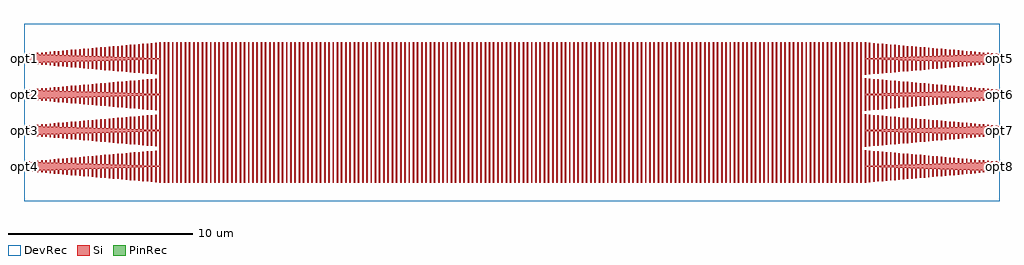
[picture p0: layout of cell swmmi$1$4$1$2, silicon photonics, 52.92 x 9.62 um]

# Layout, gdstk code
import gdstk
lib = gdstk.Library(unit=1e-6, precision=1e-09)
def R(c, l, rs):  # rectangles x0, y0, x1, y1
    for r in rs: c.add(gdstk.rectangle(r[:2], r[2:], *l))
def P(c, l, *ps):  # polygons
    for p in ps: c.add(gdstk.Polygon(p, *l))
Si = (1, 0)
PinRec = (1, 10)
DevRec = (68, 0)

tapered_rung_13b2f8a4_1_ = lib.new_cell('tapered_rung_13b2f8a4$1$4$1$2')
R(tapered_rung_13b2f8a4_1_, Si, [(0,-0.01,0.079,7.61)])

straight_4dba03ce_1_4_1_ = lib.new_cell('straight_4dba03ce$1$4$1$2')
R(straight_4dba03ce_1_4_1_, Si, [(0,-0.875,0.079,0.875)])

straight_02d3a096_1_4_1_ = lib.new_cell('straight_02d3a096$1$4$1$2')
R(straight_02d3a096_1_4_1_, Si, [(0,-0.855,0.079,0.855)])

straight_fb1c9b6e_1_4_1_ = lib.new_cell('straight_fb1c9b6e$1$4$1$2')
R(straight_fb1c9b6e_1_4_1_, Si, [(0,-0.836,0.079,0.836)])

straight_5bfd06b2_1_4_1_ = lib.new_cell('straight_5bfd06b2$1$4$1$2')
R(straight_5bfd06b2_1_4_1_, Si, [(0,-0.816,0.079,0.816)])

straight_1d78e075_1_4_1_ = lib.new_cell('straight_1d78e075$1$4$1$2')
R(straight_1d78e075_1_4_1_, Si, [(0,-0.797,0.079,0.797)])

straight_4a068241_1_4_1_ = lib.new_cell('straight_4a068241$1$4$1$2')
R(straight_4a068241_1_4_1_, Si, [(0,-0.777,0.079,0.777)])

straight_e533b238_1_4_1_ = lib.new_cell('straight_e533b238$1$4$1$2')
R(straight_e533b238_1_4_1_, Si, [(0,-0.758,0.079,0.758)])

straight_9c4e17f1_1_4_1_ = lib.new_cell('straight_9c4e17f1$1$4$1$2')
R(straight_9c4e17f1_1_4_1_, Si, [(0,-0.738,0.079,0.738)])

straight_84e6302c_1_4_1_ = lib.new_cell('straight_84e6302c$1$4$1$2')
R(straight_84e6302c_1_4_1_, Si, [(0,-0.719,0.079,0.719)])

straight_f7d1fc65_1_4_1_ = lib.new_cell('straight_f7d1fc65$1$4$1$2')
R(straight_f7d1fc65_1_4_1_, Si, [(0,-0.699,0.079,0.699)])

straight_6d488178_1_4_1_ = lib.new_cell('straight_6d488178$1$4$1$2')
R(straight_6d488178_1_4_1_, Si, [(0,-0.68,0.079,0.68)])

straight_5ea3cd06_1_4_1_ = lib.new_cell('straight_5ea3cd06$1$4$1$2')
R(straight_5ea3cd06_1_4_1_, Si, [(0,-0.66,0.079,0.66)])

straight_2c39bc87_1_4_1_ = lib.new_cell('straight_2c39bc87$1$4$1$2')
R(straight_2c39bc87_1_4_1_, Si, [(0,-0.641,0.079,0.641)])

straight_09bb2c49_1_4_1_ = lib.new_cell('straight_09bb2c49$1$4$1$2')
R(straight_09bb2c49_1_4_1_, Si, [(0,-0.621,0.079,0.621)])

straight_8f11f37e_1_4_1_ = lib.new_cell('straight_8f11f37e$1$4$1$2')
R(straight_8f11f37e_1_4_1_, Si, [(0,-0.602,0.079,0.602)])

straight_4b066b60_1_4_1_ = lib.new_cell('straight_4b066b60$1$4$1$2')
R(straight_4b066b60_1_4_1_, Si, [(0,-0.582,0.079,0.582)])

straight_b793d578_1_4_1_ = lib.new_cell('straight_b793d578$1$4$1$2')
R(straight_b793d578_1_4_1_, Si, [(0,-0.562,0.079,0.562)])

straight_ebca209d_1_4_1_ = lib.new_cell('straight_ebca209d$1$4$1$2')
R(straight_ebca209d_1_4_1_, Si, [(0,-0.543,0.079,0.543)])

straight_5dc137b4_1_4_1_ = lib.new_cell('straight_5dc137b4$1$4$1$2')
R(straight_5dc137b4_1_4_1_, Si, [(0,-0.523,0.079,0.523)])

straight_2d9b7ab2_1_4_1_ = lib.new_cell('straight_2d9b7ab2$1$4$1$2')
R(straight_2d9b7ab2_1_4_1_, Si, [(0,-0.504,0.079,0.504)])

straight_e69af71d_1_4_1_ = lib.new_cell('straight_e69af71d$1$4$1$2')
R(straight_e69af71d_1_4_1_, Si, [(0,-0.484,0.079,0.484)])

straight_17e9a650_1_4_1_ = lib.new_cell('straight_17e9a650$1$4$1$2')
R(straight_17e9a650_1_4_1_, Si, [(0,-0.465,0.079,0.465)])

straight_4a13c587_1_4_1_ = lib.new_cell('straight_4a13c587$1$4$1$2')
R(straight_4a13c587_1_4_1_, Si, [(0,-0.445,0.079,0.445)])

straight_dc194b24_1_4_1_ = lib.new_cell('straight_dc194b24$1$4$1$2')
R(straight_dc194b24_1_4_1_, Si, [(0,-0.426,0.079,0.426)])

straight_168b5256_1_4_1_ = lib.new_cell('straight_168b5256$1$4$1$2')
R(straight_168b5256_1_4_1_, Si, [(0,-0.406,0.079,0.406)])

straight_95e26ac4_1_4_1_ = lib.new_cell('straight_95e26ac4$1$4$1$2')
R(straight_95e26ac4_1_4_1_, Si, [(0,-0.387,0.079,0.387)])

straight_c8e52362_1_4_1_ = lib.new_cell('straight_c8e52362$1$4$1$2')
R(straight_c8e52362_1_4_1_, Si, [(0,-0.367,0.079,0.367)])

straight_d18412fd_1_4_1_ = lib.new_cell('straight_d18412fd$1$4$1$2')
R(straight_d18412fd_1_4_1_, Si, [(0,-0.348,0.079,0.348)])

straight_ae37b892_1_4_1_ = lib.new_cell('straight_ae37b892$1$4$1$2')
R(straight_ae37b892_1_4_1_, Si, [(0,-0.328,0.079,0.328)])

straight_69e23213_1_4_1_ = lib.new_cell('straight_69e23213$1$4$1$2')
R(straight_69e23213_1_4_1_, Si, [(0,-0.309,0.079,0.309)])

straight_e8bbdc83_1_4_1_ = lib.new_cell('straight_e8bbdc83$1$4$1$2')
R(straight_e8bbdc83_1_4_1_, Si, [(0,-0.289,0.079,0.289)])

straight_58eb0652_1_4_1_ = lib.new_cell('straight_58eb0652$1$4$1$2')
R(straight_58eb0652_1_4_1_, Si, [(0,-0.27,0.079,0.27)])

straight_2cb6a0ad_1_4_1_ = lib.new_cell('straight_2cb6a0ad$1$4$1$2')
R(straight_2cb6a0ad_1_4_1_, Si, [(0,-0.25,0.079,0.25)])

straight_a7162a93_1_4_1_ = lib.new_cell('straight_a7162a93$1$4$1$2')
R(straight_a7162a93_1_4_1_, Si, [(0,-0.387,0.079,0.387)])

swmmi_1_4_1_2 = lib.new_cell('swmmi$1$4$1$2')
P(swmmi_1_4_1_2, Si, [(0,-3.175),(0,-2.675),(7.328,-2.895),(7.328,-2.955)],
  [(0,-1.225),(0,-0.725),(7.328,-0.945),(7.328,-1.005)],
  [(0,0.725),(0,1.225),(7.328,1.005),(7.328,0.945)],
  [(0,2.675),(0,3.175),(7.328,2.955),(7.328,2.895)],
  [(52.899,-3.175),(45.571,-2.955),(45.571,-2.895),(52.899,-2.675)],
  [(52.899,-1.225),(45.571,-1.005),(45.571,-0.945),(52.899,-0.725)],
  [(52.899,0.725),(45.571,0.945),(45.571,1.005),(52.899,1.225)],
  [(52.899,2.675),(45.571,2.895),(45.571,2.955),(52.899,3.175)])
R(swmmi_1_4_1_2, DevRec, [(0,-4.81,52.899,4.81)])
swmmi_1_4_1_2.add(gdstk.FlexPath([(0.01,2.925),(-0.01,2.925)], 0.5, ends="flush", simple_path=True, layer=1, datatype=10))  # PinRec
swmmi_1_4_1_2.add(gdstk.FlexPath([(0.01,0.975),(-0.01,0.975)], 0.5, ends="flush", simple_path=True, layer=1, datatype=10))  # PinRec
swmmi_1_4_1_2.add(gdstk.FlexPath([(0.01,-0.975),(-0.01,-0.975)], 0.5, ends="flush", simple_path=True, layer=1, datatype=10))  # PinRec
swmmi_1_4_1_2.add(gdstk.FlexPath([(0.01,-2.925),(-0.01,-2.925)], 0.5, ends="flush", simple_path=True, layer=1, datatype=10))  # PinRec
swmmi_1_4_1_2.add(gdstk.FlexPath([(52.889,2.925),(52.909,2.925)], 0.5, ends="flush", simple_path=True, layer=1, datatype=10))  # PinRec
swmmi_1_4_1_2.add(gdstk.FlexPath([(52.889,0.975),(52.909,0.975)], 0.5, ends="flush", simple_path=True, layer=1, datatype=10))  # PinRec
swmmi_1_4_1_2.add(gdstk.FlexPath([(52.889,-0.975),(52.909,-0.975)], 0.5, ends="flush", simple_path=True, layer=1, datatype=10))  # PinRec
swmmi_1_4_1_2.add(gdstk.FlexPath([(52.889,-2.925),(52.909,-2.925)], 0.5, ends="flush", simple_path=True, layer=1, datatype=10))  # PinRec
swmmi_1_4_1_2.add(gdstk.Reference(tapered_rung_13b2f8a4_1_, (26.335,-3.8)))
swmmi_1_4_1_2.add(gdstk.Reference(tapered_rung_13b2f8a4_1_, (26.564,-3.8)))
swmmi_1_4_1_2.add(gdstk.Reference(tapered_rung_13b2f8a4_1_, (26.793,-3.8)))
swmmi_1_4_1_2.add(gdstk.Reference(tapered_rung_13b2f8a4_1_, (27.022,-3.8)))
swmmi_1_4_1_2.add(gdstk.Reference(tapered_rung_13b2f8a4_1_, (27.251,-3.8)))
swmmi_1_4_1_2.add(gdstk.Reference(tapered_rung_13b2f8a4_1_, (27.48,-3.8)))
swmmi_1_4_1_2.add(gdstk.Reference(tapered_rung_13b2f8a4_1_, (27.709,-3.8)))
swmmi_1_4_1_2.add(gdstk.Reference(tapered_rung_13b2f8a4_1_, (27.938,-3.8)))
swmmi_1_4_1_2.add(gdstk.Reference(tapered_rung_13b2f8a4_1_, (28.167,-3.8)))
swmmi_1_4_1_2.add(gdstk.Reference(tapered_rung_13b2f8a4_1_, (28.396,-3.8)))
swmmi_1_4_1_2.add(gdstk.Reference(tapered_rung_13b2f8a4_1_, (28.625,-3.8)))
swmmi_1_4_1_2.add(gdstk.Reference(tapered_rung_13b2f8a4_1_, (28.854,-3.8)))
swmmi_1_4_1_2.add(gdstk.Reference(tapered_rung_13b2f8a4_1_, (29.083,-3.8)))
swmmi_1_4_1_2.add(gdstk.Reference(tapered_rung_13b2f8a4_1_, (29.312,-3.8)))
swmmi_1_4_1_2.add(gdstk.Reference(tapered_rung_13b2f8a4_1_, (29.541,-3.8)))
swmmi_1_4_1_2.add(gdstk.Reference(tapered_rung_13b2f8a4_1_, (29.77,-3.8)))
swmmi_1_4_1_2.add(gdstk.Reference(tapered_rung_13b2f8a4_1_, (29.999,-3.8)))
swmmi_1_4_1_2.add(gdstk.Reference(tapered_rung_13b2f8a4_1_, (30.228,-3.8)))
swmmi_1_4_1_2.add(gdstk.Reference(tapered_rung_13b2f8a4_1_, (30.457,-3.8)))
swmmi_1_4_1_2.add(gdstk.Reference(tapered_rung_13b2f8a4_1_, (30.686,-3.8)))
swmmi_1_4_1_2.add(gdstk.Reference(tapered_rung_13b2f8a4_1_, (30.915,-3.8)))
swmmi_1_4_1_2.add(gdstk.Reference(tapered_rung_13b2f8a4_1_, (31.144,-3.8)))
swmmi_1_4_1_2.add(gdstk.Reference(tapered_rung_13b2f8a4_1_, (31.373,-3.8)))
swmmi_1_4_1_2.add(gdstk.Reference(tapered_rung_13b2f8a4_1_, (31.602,-3.8)))
swmmi_1_4_1_2.add(gdstk.Reference(tapered_rung_13b2f8a4_1_, (31.831,-3.8)))
swmmi_1_4_1_2.add(gdstk.Reference(tapered_rung_13b2f8a4_1_, (32.06,-3.8)))
swmmi_1_4_1_2.add(gdstk.Reference(tapered_rung_13b2f8a4_1_, (32.289,-3.8)))
swmmi_1_4_1_2.add(gdstk.Reference(tapered_rung_13b2f8a4_1_, (32.518,-3.8)))
swmmi_1_4_1_2.add(gdstk.Reference(tapered_rung_13b2f8a4_1_, (32.747,-3.8)))
swmmi_1_4_1_2.add(gdstk.Reference(tapered_rung_13b2f8a4_1_, (32.976,-3.8)))
swmmi_1_4_1_2.add(gdstk.Reference(tapered_rung_13b2f8a4_1_, (33.205,-3.8)))
swmmi_1_4_1_2.add(gdstk.Reference(tapered_rung_13b2f8a4_1_, (33.434,-3.8)))
swmmi_1_4_1_2.add(gdstk.Reference(tapered_rung_13b2f8a4_1_, (33.663,-3.8)))
swmmi_1_4_1_2.add(gdstk.Reference(tapered_rung_13b2f8a4_1_, (33.892,-3.8)))
swmmi_1_4_1_2.add(gdstk.Reference(tapered_rung_13b2f8a4_1_, (34.121,-3.8)))
swmmi_1_4_1_2.add(gdstk.Reference(tapered_rung_13b2f8a4_1_, (34.35,-3.8)))
swmmi_1_4_1_2.add(gdstk.Reference(tapered_rung_13b2f8a4_1_, (34.579,-3.8)))
swmmi_1_4_1_2.add(gdstk.Reference(tapered_rung_13b2f8a4_1_, (34.808,-3.8)))
swmmi_1_4_1_2.add(gdstk.Reference(tapered_rung_13b2f8a4_1_, (35.037,-3.8)))
swmmi_1_4_1_2.add(gdstk.Reference(tapered_rung_13b2f8a4_1_, (35.266,-3.8)))
swmmi_1_4_1_2.add(gdstk.Reference(tapered_rung_13b2f8a4_1_, (35.495,-3.8)))
swmmi_1_4_1_2.add(gdstk.Reference(tapered_rung_13b2f8a4_1_, (35.724,-3.8)))
swmmi_1_4_1_2.add(gdstk.Reference(tapered_rung_13b2f8a4_1_, (35.953,-3.8)))
swmmi_1_4_1_2.add(gdstk.Reference(tapered_rung_13b2f8a4_1_, (36.182,-3.8)))
swmmi_1_4_1_2.add(gdstk.Reference(tapered_rung_13b2f8a4_1_, (36.411,-3.8)))
swmmi_1_4_1_2.add(gdstk.Reference(tapered_rung_13b2f8a4_1_, (36.64,-3.8)))
swmmi_1_4_1_2.add(gdstk.Reference(tapered_rung_13b2f8a4_1_, (36.869,-3.8)))
swmmi_1_4_1_2.add(gdstk.Reference(tapered_rung_13b2f8a4_1_, (37.098,-3.8)))
swmmi_1_4_1_2.add(gdstk.Reference(tapered_rung_13b2f8a4_1_, (37.327,-3.8)))
swmmi_1_4_1_2.add(gdstk.Reference(tapered_rung_13b2f8a4_1_, (37.556,-3.8)))
swmmi_1_4_1_2.add(gdstk.Reference(tapered_rung_13b2f8a4_1_, (37.785,-3.8)))
swmmi_1_4_1_2.add(gdstk.Reference(tapered_rung_13b2f8a4_1_, (38.014,-3.8)))
swmmi_1_4_1_2.add(gdstk.Reference(tapered_rung_13b2f8a4_1_, (38.243,-3.8)))
swmmi_1_4_1_2.add(gdstk.Reference(tapered_rung_13b2f8a4_1_, (38.472,-3.8)))
swmmi_1_4_1_2.add(gdstk.Reference(tapered_rung_13b2f8a4_1_, (38.701,-3.8)))
swmmi_1_4_1_2.add(gdstk.Reference(tapered_rung_13b2f8a4_1_, (38.93,-3.8)))
swmmi_1_4_1_2.add(gdstk.Reference(tapered_rung_13b2f8a4_1_, (39.159,-3.8)))
swmmi_1_4_1_2.add(gdstk.Reference(tapered_rung_13b2f8a4_1_, (39.388,-3.8)))
swmmi_1_4_1_2.add(gdstk.Reference(tapered_rung_13b2f8a4_1_, (39.617,-3.8)))
swmmi_1_4_1_2.add(gdstk.Reference(tapered_rung_13b2f8a4_1_, (39.846,-3.8)))
swmmi_1_4_1_2.add(gdstk.Reference(tapered_rung_13b2f8a4_1_, (40.075,-3.8)))
swmmi_1_4_1_2.add(gdstk.Reference(tapered_rung_13b2f8a4_1_, (40.304,-3.8)))
swmmi_1_4_1_2.add(gdstk.Reference(tapered_rung_13b2f8a4_1_, (40.533,-3.8)))
swmmi_1_4_1_2.add(gdstk.Reference(tapered_rung_13b2f8a4_1_, (40.762,-3.8)))
swmmi_1_4_1_2.add(gdstk.Reference(tapered_rung_13b2f8a4_1_, (40.991,-3.8)))
swmmi_1_4_1_2.add(gdstk.Reference(tapered_rung_13b2f8a4_1_, (41.22,-3.8)))
swmmi_1_4_1_2.add(gdstk.Reference(tapered_rung_13b2f8a4_1_, (41.449,-3.8)))
swmmi_1_4_1_2.add(gdstk.Reference(tapered_rung_13b2f8a4_1_, (41.678,-3.8)))
swmmi_1_4_1_2.add(gdstk.Reference(tapered_rung_13b2f8a4_1_, (41.907,-3.8)))
swmmi_1_4_1_2.add(gdstk.Reference(tapered_rung_13b2f8a4_1_, (42.136,-3.8)))
swmmi_1_4_1_2.add(gdstk.Reference(tapered_rung_13b2f8a4_1_, (42.365,-3.8)))
swmmi_1_4_1_2.add(gdstk.Reference(tapered_rung_13b2f8a4_1_, (42.594,-3.8)))
swmmi_1_4_1_2.add(gdstk.Reference(tapered_rung_13b2f8a4_1_, (42.823,-3.8)))
swmmi_1_4_1_2.add(gdstk.Reference(tapered_rung_13b2f8a4_1_, (43.052,-3.8)))
swmmi_1_4_1_2.add(gdstk.Reference(tapered_rung_13b2f8a4_1_, (43.281,-3.8)))
swmmi_1_4_1_2.add(gdstk.Reference(tapered_rung_13b2f8a4_1_, (43.51,-3.8)))
swmmi_1_4_1_2.add(gdstk.Reference(tapered_rung_13b2f8a4_1_, (43.739,-3.8)))
swmmi_1_4_1_2.add(gdstk.Reference(tapered_rung_13b2f8a4_1_, (43.968,-3.8)))
swmmi_1_4_1_2.add(gdstk.Reference(tapered_rung_13b2f8a4_1_, (44.197,-3.8)))
swmmi_1_4_1_2.add(gdstk.Reference(tapered_rung_13b2f8a4_1_, (44.426,-3.8)))
swmmi_1_4_1_2.add(gdstk.Reference(tapered_rung_13b2f8a4_1_, (44.655,-3.8)))
swmmi_1_4_1_2.add(gdstk.Reference(tapered_rung_13b2f8a4_1_, (44.884,-3.8)))
swmmi_1_4_1_2.add(gdstk.Reference(tapered_rung_13b2f8a4_1_, (45.113,-3.8)))
swmmi_1_4_1_2.add(gdstk.Reference(tapered_rung_13b2f8a4_1_, (45.342,-3.8)))
swmmi_1_4_1_2.add(gdstk.Reference(straight_4dba03ce_1_4_1_, (45.571,0.975)))
swmmi_1_4_1_2.add(gdstk.Reference(straight_02d3a096_1_4_1_, (45.8,0.975)))
swmmi_1_4_1_2.add(gdstk.Reference(straight_fb1c9b6e_1_4_1_, (46.029,0.975)))
swmmi_1_4_1_2.add(gdstk.Reference(straight_5bfd06b2_1_4_1_, (46.258,0.975)))
swmmi_1_4_1_2.add(gdstk.Reference(straight_1d78e075_1_4_1_, (46.487,0.975)))
swmmi_1_4_1_2.add(gdstk.Reference(straight_4a068241_1_4_1_, (46.716,0.975)))
swmmi_1_4_1_2.add(gdstk.Reference(straight_e533b238_1_4_1_, (46.945,0.975)))
swmmi_1_4_1_2.add(gdstk.Reference(straight_9c4e17f1_1_4_1_, (47.174,0.975)))
swmmi_1_4_1_2.add(gdstk.Reference(straight_84e6302c_1_4_1_, (47.403,0.975)))
swmmi_1_4_1_2.add(gdstk.Reference(straight_f7d1fc65_1_4_1_, (47.632,0.975)))
swmmi_1_4_1_2.add(gdstk.Reference(straight_6d488178_1_4_1_, (47.861,0.975)))
swmmi_1_4_1_2.add(gdstk.Reference(straight_5ea3cd06_1_4_1_, (48.09,0.975)))
swmmi_1_4_1_2.add(gdstk.Reference(straight_2c39bc87_1_4_1_, (48.319,0.975)))
swmmi_1_4_1_2.add(gdstk.Reference(straight_09bb2c49_1_4_1_, (48.548,0.975)))
swmmi_1_4_1_2.add(gdstk.Reference(straight_8f11f37e_1_4_1_, (48.777,0.975)))
swmmi_1_4_1_2.add(gdstk.Reference(straight_4b066b60_1_4_1_, (49.006,0.975)))
swmmi_1_4_1_2.add(gdstk.Reference(straight_b793d578_1_4_1_, (49.235,0.975)))
swmmi_1_4_1_2.add(gdstk.Reference(straight_ebca209d_1_4_1_, (49.464,0.975)))
swmmi_1_4_1_2.add(gdstk.Reference(straight_5dc137b4_1_4_1_, (49.693,0.975)))
swmmi_1_4_1_2.add(gdstk.Reference(straight_2d9b7ab2_1_4_1_, (49.922,0.975)))
swmmi_1_4_1_2.add(gdstk.Reference(straight_e69af71d_1_4_1_, (50.151,0.975)))
swmmi_1_4_1_2.add(gdstk.Reference(straight_17e9a650_1_4_1_, (50.38,0.975)))
swmmi_1_4_1_2.add(gdstk.Reference(straight_4a13c587_1_4_1_, (50.609,0.975)))
swmmi_1_4_1_2.add(gdstk.Reference(straight_dc194b24_1_4_1_, (50.838,0.975)))
swmmi_1_4_1_2.add(gdstk.Reference(straight_168b5256_1_4_1_, (51.067,0.975)))
swmmi_1_4_1_2.add(gdstk.Reference(straight_95e26ac4_1_4_1_, (51.296,0.975)))
swmmi_1_4_1_2.add(gdstk.Reference(straight_c8e52362_1_4_1_, (51.525,0.975)))
swmmi_1_4_1_2.add(gdstk.Reference(straight_d18412fd_1_4_1_, (51.754,0.975)))
swmmi_1_4_1_2.add(gdstk.Reference(straight_ae37b892_1_4_1_, (51.983,0.975)))
swmmi_1_4_1_2.add(gdstk.Reference(straight_69e23213_1_4_1_, (52.212,0.975)))
swmmi_1_4_1_2.add(gdstk.Reference(straight_e8bbdc83_1_4_1_, (52.441,0.975)))
swmmi_1_4_1_2.add(gdstk.Reference(straight_58eb0652_1_4_1_, (52.67,0.975)))
swmmi_1_4_1_2.add(gdstk.Reference(straight_4dba03ce_1_4_1_, (45.571,2.925)))
swmmi_1_4_1_2.add(gdstk.Reference(straight_02d3a096_1_4_1_, (45.8,2.925)))
swmmi_1_4_1_2.add(gdstk.Reference(straight_fb1c9b6e_1_4_1_, (46.029,2.925)))
swmmi_1_4_1_2.add(gdstk.Reference(straight_5bfd06b2_1_4_1_, (46.258,2.925)))
swmmi_1_4_1_2.add(gdstk.Reference(straight_1d78e075_1_4_1_, (46.487,2.925)))
swmmi_1_4_1_2.add(gdstk.Reference(straight_4a068241_1_4_1_, (46.716,2.925)))
swmmi_1_4_1_2.add(gdstk.Reference(straight_e533b238_1_4_1_, (46.945,2.925)))
swmmi_1_4_1_2.add(gdstk.Reference(straight_9c4e17f1_1_4_1_, (47.174,2.925)))
swmmi_1_4_1_2.add(gdstk.Reference(straight_84e6302c_1_4_1_, (47.403,2.925)))
swmmi_1_4_1_2.add(gdstk.Reference(straight_f7d1fc65_1_4_1_, (47.632,2.925)))
swmmi_1_4_1_2.add(gdstk.Reference(straight_6d488178_1_4_1_, (47.861,2.925)))
swmmi_1_4_1_2.add(gdstk.Reference(straight_5ea3cd06_1_4_1_, (48.09,2.925)))
swmmi_1_4_1_2.add(gdstk.Reference(straight_2c39bc87_1_4_1_, (48.319,2.925)))
swmmi_1_4_1_2.add(gdstk.Reference(straight_09bb2c49_1_4_1_, (48.548,2.925)))
swmmi_1_4_1_2.add(gdstk.Reference(straight_8f11f37e_1_4_1_, (48.777,2.925)))
swmmi_1_4_1_2.add(gdstk.Reference(straight_4b066b60_1_4_1_, (49.006,2.925)))
swmmi_1_4_1_2.add(gdstk.Reference(straight_b793d578_1_4_1_, (49.235,2.925)))
swmmi_1_4_1_2.add(gdstk.Reference(straight_ebca209d_1_4_1_, (49.464,2.925)))
swmmi_1_4_1_2.add(gdstk.Reference(straight_5dc137b4_1_4_1_, (49.693,2.925)))
swmmi_1_4_1_2.add(gdstk.Reference(straight_2d9b7ab2_1_4_1_, (49.922,2.925)))
swmmi_1_4_1_2.add(gdstk.Reference(straight_e69af71d_1_4_1_, (50.151,2.925)))
swmmi_1_4_1_2.add(gdstk.Reference(straight_17e9a650_1_4_1_, (50.38,2.925)))
swmmi_1_4_1_2.add(gdstk.Reference(straight_4a13c587_1_4_1_, (50.609,2.925)))
swmmi_1_4_1_2.add(gdstk.Reference(straight_dc194b24_1_4_1_, (50.838,2.925)))
swmmi_1_4_1_2.add(gdstk.Reference(straight_168b5256_1_4_1_, (51.067,2.925)))
swmmi_1_4_1_2.add(gdstk.Reference(straight_95e26ac4_1_4_1_, (51.296,2.925)))
swmmi_1_4_1_2.add(gdstk.Reference(straight_c8e52362_1_4_1_, (51.525,2.925)))
swmmi_1_4_1_2.add(gdstk.Reference(straight_d18412fd_1_4_1_, (51.754,2.925)))
swmmi_1_4_1_2.add(gdstk.Reference(straight_ae37b892_1_4_1_, (51.983,2.925)))
swmmi_1_4_1_2.add(gdstk.Reference(straight_69e23213_1_4_1_, (52.212,2.925)))
swmmi_1_4_1_2.add(gdstk.Reference(straight_e8bbdc83_1_4_1_, (52.441,2.925)))
swmmi_1_4_1_2.add(gdstk.Reference(straight_58eb0652_1_4_1_, (52.67,2.925)))
swmmi_1_4_1_2.add(gdstk.Reference(straight_4dba03ce_1_4_1_, (45.571,-2.925)))
swmmi_1_4_1_2.add(gdstk.Reference(straight_02d3a096_1_4_1_, (45.8,-2.925)))
swmmi_1_4_1_2.add(gdstk.Reference(straight_fb1c9b6e_1_4_1_, (46.029,-2.925)))
swmmi_1_4_1_2.add(gdstk.Reference(straight_5bfd06b2_1_4_1_, (46.258,-2.925)))
swmmi_1_4_1_2.add(gdstk.Reference(straight_1d78e075_1_4_1_, (46.487,-2.925)))
swmmi_1_4_1_2.add(gdstk.Reference(straight_4a068241_1_4_1_, (46.716,-2.925)))
swmmi_1_4_1_2.add(gdstk.Reference(straight_e533b238_1_4_1_, (46.945,-2.925)))
swmmi_1_4_1_2.add(gdstk.Reference(straight_9c4e17f1_1_4_1_, (47.174,-2.925)))
swmmi_1_4_1_2.add(gdstk.Reference(straight_84e6302c_1_4_1_, (47.403,-2.925)))
swmmi_1_4_1_2.add(gdstk.Reference(straight_f7d1fc65_1_4_1_, (47.632,-2.925)))
swmmi_1_4_1_2.add(gdstk.Reference(straight_6d488178_1_4_1_, (47.861,-2.925)))
swmmi_1_4_1_2.add(gdstk.Reference(straight_5ea3cd06_1_4_1_, (48.09,-2.925)))
swmmi_1_4_1_2.add(gdstk.Reference(straight_2c39bc87_1_4_1_, (48.319,-2.925)))
swmmi_1_4_1_2.add(gdstk.Reference(straight_09bb2c49_1_4_1_, (48.548,-2.925)))
swmmi_1_4_1_2.add(gdstk.Reference(straight_8f11f37e_1_4_1_, (48.777,-2.925)))
swmmi_1_4_1_2.add(gdstk.Reference(straight_4b066b60_1_4_1_, (49.006,-2.925)))
swmmi_1_4_1_2.add(gdstk.Reference(straight_b793d578_1_4_1_, (49.235,-2.925)))
swmmi_1_4_1_2.add(gdstk.Reference(straight_ebca209d_1_4_1_, (49.464,-2.925)))
swmmi_1_4_1_2.add(gdstk.Reference(straight_5dc137b4_1_4_1_, (49.693,-2.925)))
swmmi_1_4_1_2.add(gdstk.Reference(straight_2d9b7ab2_1_4_1_, (49.922,-2.925)))
swmmi_1_4_1_2.add(gdstk.Reference(straight_e69af71d_1_4_1_, (50.151,-2.925)))
swmmi_1_4_1_2.add(gdstk.Reference(straight_17e9a650_1_4_1_, (50.38,-2.925)))
swmmi_1_4_1_2.add(gdstk.Reference(straight_4a13c587_1_4_1_, (50.609,-2.925)))
swmmi_1_4_1_2.add(gdstk.Reference(straight_dc194b24_1_4_1_, (50.838,-2.925)))
swmmi_1_4_1_2.add(gdstk.Reference(straight_168b5256_1_4_1_, (51.067,-2.925)))
swmmi_1_4_1_2.add(gdstk.Reference(straight_95e26ac4_1_4_1_, (51.296,-2.925)))
swmmi_1_4_1_2.add(gdstk.Reference(straight_c8e52362_1_4_1_, (51.525,-2.925)))
swmmi_1_4_1_2.add(gdstk.Reference(straight_d18412fd_1_4_1_, (51.754,-2.925)))
swmmi_1_4_1_2.add(gdstk.Reference(straight_ae37b892_1_4_1_, (51.983,-2.925)))
swmmi_1_4_1_2.add(gdstk.Reference(straight_69e23213_1_4_1_, (52.212,-2.925)))
swmmi_1_4_1_2.add(gdstk.Reference(straight_e8bbdc83_1_4_1_, (52.441,-2.925)))
swmmi_1_4_1_2.add(gdstk.Reference(straight_58eb0652_1_4_1_, (52.67,-2.925)))
swmmi_1_4_1_2.add(gdstk.Reference(straight_4dba03ce_1_4_1_, (45.571,-0.975)))
swmmi_1_4_1_2.add(gdstk.Reference(straight_02d3a096_1_4_1_, (45.8,-0.975)))
swmmi_1_4_1_2.add(gdstk.Reference(straight_fb1c9b6e_1_4_1_, (46.029,-0.975)))
swmmi_1_4_1_2.add(gdstk.Reference(straight_5bfd06b2_1_4_1_, (46.258,-0.975)))
swmmi_1_4_1_2.add(gdstk.Reference(straight_1d78e075_1_4_1_, (46.487,-0.975)))
swmmi_1_4_1_2.add(gdstk.Reference(straight_4a068241_1_4_1_, (46.716,-0.975)))
swmmi_1_4_1_2.add(gdstk.Reference(straight_e533b238_1_4_1_, (46.945,-0.975)))
swmmi_1_4_1_2.add(gdstk.Reference(straight_9c4e17f1_1_4_1_, (47.174,-0.975)))
swmmi_1_4_1_2.add(gdstk.Reference(straight_84e6302c_1_4_1_, (47.403,-0.975)))
swmmi_1_4_1_2.add(gdstk.Reference(straight_f7d1fc65_1_4_1_, (47.632,-0.975)))
swmmi_1_4_1_2.add(gdstk.Reference(straight_6d488178_1_4_1_, (47.861,-0.975)))
swmmi_1_4_1_2.add(gdstk.Reference(straight_5ea3cd06_1_4_1_, (48.09,-0.975)))
swmmi_1_4_1_2.add(gdstk.Reference(straight_2c39bc87_1_4_1_, (48.319,-0.975)))
swmmi_1_4_1_2.add(gdstk.Reference(straight_09bb2c49_1_4_1_, (48.548,-0.975)))
swmmi_1_4_1_2.add(gdstk.Reference(straight_8f11f37e_1_4_1_, (48.777,-0.975)))
swmmi_1_4_1_2.add(gdstk.Reference(straight_4b066b60_1_4_1_, (49.006,-0.975)))
swmmi_1_4_1_2.add(gdstk.Reference(straight_b793d578_1_4_1_, (49.235,-0.975)))
swmmi_1_4_1_2.add(gdstk.Reference(straight_ebca209d_1_4_1_, (49.464,-0.975)))
swmmi_1_4_1_2.add(gdstk.Reference(straight_5dc137b4_1_4_1_, (49.693,-0.975)))
swmmi_1_4_1_2.add(gdstk.Reference(straight_2d9b7ab2_1_4_1_, (49.922,-0.975)))
swmmi_1_4_1_2.add(gdstk.Reference(straight_e69af71d_1_4_1_, (50.151,-0.975)))
swmmi_1_4_1_2.add(gdstk.Reference(straight_17e9a650_1_4_1_, (50.38,-0.975)))
swmmi_1_4_1_2.add(gdstk.Reference(straight_4a13c587_1_4_1_, (50.609,-0.975)))
swmmi_1_4_1_2.add(gdstk.Reference(straight_dc194b24_1_4_1_, (50.838,-0.975)))
swmmi_1_4_1_2.add(gdstk.Reference(straight_168b5256_1_4_1_, (51.067,-0.975)))
swmmi_1_4_1_2.add(gdstk.Reference(straight_95e26ac4_1_4_1_, (51.296,-0.975)))
swmmi_1_4_1_2.add(gdstk.Reference(straight_c8e52362_1_4_1_, (51.525,-0.975)))
swmmi_1_4_1_2.add(gdstk.Reference(straight_d18412fd_1_4_1_, (51.754,-0.975)))
swmmi_1_4_1_2.add(gdstk.Reference(straight_ae37b892_1_4_1_, (51.983,-0.975)))
swmmi_1_4_1_2.add(gdstk.Reference(straight_69e23213_1_4_1_, (52.212,-0.975)))
swmmi_1_4_1_2.add(gdstk.Reference(straight_e8bbdc83_1_4_1_, (52.441,-0.975)))
swmmi_1_4_1_2.add(gdstk.Reference(straight_58eb0652_1_4_1_, (52.67,-0.975)))
swmmi_1_4_1_2.add(gdstk.Reference(tapered_rung_13b2f8a4_1_, (7.328,-3.8)))
swmmi_1_4_1_2.add(gdstk.Reference(tapered_rung_13b2f8a4_1_, (7.557,-3.8)))
swmmi_1_4_1_2.add(gdstk.Reference(tapered_rung_13b2f8a4_1_, (7.786,-3.8)))
swmmi_1_4_1_2.add(gdstk.Reference(tapered_rung_13b2f8a4_1_, (8.015,-3.8)))
swmmi_1_4_1_2.add(gdstk.Reference(tapered_rung_13b2f8a4_1_, (8.244,-3.8)))
swmmi_1_4_1_2.add(gdstk.Reference(tapered_rung_13b2f8a4_1_, (8.473,-3.8)))
swmmi_1_4_1_2.add(gdstk.Reference(tapered_rung_13b2f8a4_1_, (8.702,-3.8)))
swmmi_1_4_1_2.add(gdstk.Reference(tapered_rung_13b2f8a4_1_, (8.931,-3.8)))
swmmi_1_4_1_2.add(gdstk.Reference(tapered_rung_13b2f8a4_1_, (9.16,-3.8)))
swmmi_1_4_1_2.add(gdstk.Reference(tapered_rung_13b2f8a4_1_, (9.389,-3.8)))
swmmi_1_4_1_2.add(gdstk.Reference(tapered_rung_13b2f8a4_1_, (9.618,-3.8)))
swmmi_1_4_1_2.add(gdstk.Reference(tapered_rung_13b2f8a4_1_, (9.847,-3.8)))
swmmi_1_4_1_2.add(gdstk.Reference(tapered_rung_13b2f8a4_1_, (10.076,-3.8)))
swmmi_1_4_1_2.add(gdstk.Reference(tapered_rung_13b2f8a4_1_, (10.305,-3.8)))
swmmi_1_4_1_2.add(gdstk.Reference(tapered_rung_13b2f8a4_1_, (10.534,-3.8)))
swmmi_1_4_1_2.add(gdstk.Reference(tapered_rung_13b2f8a4_1_, (10.763,-3.8)))
swmmi_1_4_1_2.add(gdstk.Reference(tapered_rung_13b2f8a4_1_, (10.992,-3.8)))
swmmi_1_4_1_2.add(gdstk.Reference(tapered_rung_13b2f8a4_1_, (11.221,-3.8)))
swmmi_1_4_1_2.add(gdstk.Reference(tapered_rung_13b2f8a4_1_, (11.45,-3.8)))
swmmi_1_4_1_2.add(gdstk.Reference(tapered_rung_13b2f8a4_1_, (11.679,-3.8)))
swmmi_1_4_1_2.add(gdstk.Reference(tapered_rung_13b2f8a4_1_, (11.908,-3.8)))
swmmi_1_4_1_2.add(gdstk.Reference(tapered_rung_13b2f8a4_1_, (12.137,-3.8)))
swmmi_1_4_1_2.add(gdstk.Reference(tapered_rung_13b2f8a4_1_, (12.366,-3.8)))
swmmi_1_4_1_2.add(gdstk.Reference(tapered_rung_13b2f8a4_1_, (12.595,-3.8)))
swmmi_1_4_1_2.add(gdstk.Reference(tapered_rung_13b2f8a4_1_, (12.824,-3.8)))
swmmi_1_4_1_2.add(gdstk.Reference(tapered_rung_13b2f8a4_1_, (13.053,-3.8)))
swmmi_1_4_1_2.add(gdstk.Reference(tapered_rung_13b2f8a4_1_, (13.282,-3.8)))
swmmi_1_4_1_2.add(gdstk.Reference(tapered_rung_13b2f8a4_1_, (13.511,-3.8)))
swmmi_1_4_1_2.add(gdstk.Reference(tapered_rung_13b2f8a4_1_, (13.74,-3.8)))
swmmi_1_4_1_2.add(gdstk.Reference(tapered_rung_13b2f8a4_1_, (13.969,-3.8)))
swmmi_1_4_1_2.add(gdstk.Reference(tapered_rung_13b2f8a4_1_, (14.198,-3.8)))
swmmi_1_4_1_2.add(gdstk.Reference(tapered_rung_13b2f8a4_1_, (14.427,-3.8)))
swmmi_1_4_1_2.add(gdstk.Reference(tapered_rung_13b2f8a4_1_, (14.656,-3.8)))
swmmi_1_4_1_2.add(gdstk.Reference(tapered_rung_13b2f8a4_1_, (14.885,-3.8)))
swmmi_1_4_1_2.add(gdstk.Reference(tapered_rung_13b2f8a4_1_, (15.114,-3.8)))
swmmi_1_4_1_2.add(gdstk.Reference(tapered_rung_13b2f8a4_1_, (15.343,-3.8)))
swmmi_1_4_1_2.add(gdstk.Reference(tapered_rung_13b2f8a4_1_, (15.572,-3.8)))
swmmi_1_4_1_2.add(gdstk.Reference(tapered_rung_13b2f8a4_1_, (15.801,-3.8)))
swmmi_1_4_1_2.add(gdstk.Reference(tapered_rung_13b2f8a4_1_, (16.03,-3.8)))
swmmi_1_4_1_2.add(gdstk.Reference(tapered_rung_13b2f8a4_1_, (16.259,-3.8)))
swmmi_1_4_1_2.add(gdstk.Reference(tapered_rung_13b2f8a4_1_, (16.488,-3.8)))
swmmi_1_4_1_2.add(gdstk.Reference(tapered_rung_13b2f8a4_1_, (16.717,-3.8)))
swmmi_1_4_1_2.add(gdstk.Reference(tapered_rung_13b2f8a4_1_, (16.946,-3.8)))
swmmi_1_4_1_2.add(gdstk.Reference(tapered_rung_13b2f8a4_1_, (17.175,-3.8)))
swmmi_1_4_1_2.add(gdstk.Reference(tapered_rung_13b2f8a4_1_, (17.404,-3.8)))
swmmi_1_4_1_2.add(gdstk.Reference(tapered_rung_13b2f8a4_1_, (17.633,-3.8)))
swmmi_1_4_1_2.add(gdstk.Reference(tapered_rung_13b2f8a4_1_, (17.862,-3.8)))
swmmi_1_4_1_2.add(gdstk.Reference(tapered_rung_13b2f8a4_1_, (18.091,-3.8)))
swmmi_1_4_1_2.add(gdstk.Reference(tapered_rung_13b2f8a4_1_, (18.32,-3.8)))
swmmi_1_4_1_2.add(gdstk.Reference(tapered_rung_13b2f8a4_1_, (18.549,-3.8)))
swmmi_1_4_1_2.add(gdstk.Reference(tapered_rung_13b2f8a4_1_, (18.778,-3.8)))
swmmi_1_4_1_2.add(gdstk.Reference(tapered_rung_13b2f8a4_1_, (19.007,-3.8)))
swmmi_1_4_1_2.add(gdstk.Reference(tapered_rung_13b2f8a4_1_, (19.236,-3.8)))
swmmi_1_4_1_2.add(gdstk.Reference(tapered_rung_13b2f8a4_1_, (19.465,-3.8)))
swmmi_1_4_1_2.add(gdstk.Reference(tapered_rung_13b2f8a4_1_, (19.694,-3.8)))
swmmi_1_4_1_2.add(gdstk.Reference(tapered_rung_13b2f8a4_1_, (19.923,-3.8)))
swmmi_1_4_1_2.add(gdstk.Reference(tapered_rung_13b2f8a4_1_, (20.152,-3.8)))
swmmi_1_4_1_2.add(gdstk.Reference(tapered_rung_13b2f8a4_1_, (20.381,-3.8)))
swmmi_1_4_1_2.add(gdstk.Reference(tapered_rung_13b2f8a4_1_, (20.61,-3.8)))
swmmi_1_4_1_2.add(gdstk.Reference(tapered_rung_13b2f8a4_1_, (20.839,-3.8)))
swmmi_1_4_1_2.add(gdstk.Reference(tapered_rung_13b2f8a4_1_, (21.068,-3.8)))
swmmi_1_4_1_2.add(gdstk.Reference(tapered_rung_13b2f8a4_1_, (21.297,-3.8)))
swmmi_1_4_1_2.add(gdstk.Reference(tapered_rung_13b2f8a4_1_, (21.526,-3.8)))
swmmi_1_4_1_2.add(gdstk.Reference(tapered_rung_13b2f8a4_1_, (21.755,-3.8)))
swmmi_1_4_1_2.add(gdstk.Reference(tapered_rung_13b2f8a4_1_, (21.984,-3.8)))
swmmi_1_4_1_2.add(gdstk.Reference(tapered_rung_13b2f8a4_1_, (22.213,-3.8)))
swmmi_1_4_1_2.add(gdstk.Reference(tapered_rung_13b2f8a4_1_, (22.442,-3.8)))
swmmi_1_4_1_2.add(gdstk.Reference(tapered_rung_13b2f8a4_1_, (22.671,-3.8)))
swmmi_1_4_1_2.add(gdstk.Reference(tapered_rung_13b2f8a4_1_, (22.9,-3.8)))
swmmi_1_4_1_2.add(gdstk.Reference(tapered_rung_13b2f8a4_1_, (23.129,-3.8)))
swmmi_1_4_1_2.add(gdstk.Reference(tapered_rung_13b2f8a4_1_, (23.358,-3.8)))
swmmi_1_4_1_2.add(gdstk.Reference(tapered_rung_13b2f8a4_1_, (23.587,-3.8)))
swmmi_1_4_1_2.add(gdstk.Reference(tapered_rung_13b2f8a4_1_, (23.816,-3.8)))
swmmi_1_4_1_2.add(gdstk.Reference(tapered_rung_13b2f8a4_1_, (24.045,-3.8)))
swmmi_1_4_1_2.add(gdstk.Reference(tapered_rung_13b2f8a4_1_, (24.274,-3.8)))
swmmi_1_4_1_2.add(gdstk.Reference(tapered_rung_13b2f8a4_1_, (24.503,-3.8)))
swmmi_1_4_1_2.add(gdstk.Reference(tapered_rung_13b2f8a4_1_, (24.732,-3.8)))
swmmi_1_4_1_2.add(gdstk.Reference(tapered_rung_13b2f8a4_1_, (24.961,-3.8)))
swmmi_1_4_1_2.add(gdstk.Reference(tapered_rung_13b2f8a4_1_, (25.19,-3.8)))
swmmi_1_4_1_2.add(gdstk.Reference(tapered_rung_13b2f8a4_1_, (25.419,-3.8)))
swmmi_1_4_1_2.add(gdstk.Reference(tapered_rung_13b2f8a4_1_, (25.648,-3.8)))
swmmi_1_4_1_2.add(gdstk.Reference(tapered_rung_13b2f8a4_1_, (25.877,-3.8)))
swmmi_1_4_1_2.add(gdstk.Reference(tapered_rung_13b2f8a4_1_, (26.106,-3.8)))
swmmi_1_4_1_2.add(gdstk.Reference(straight_09bb2c49_1_4_1_, (4.351,0.975)))
swmmi_1_4_1_2.add(gdstk.Reference(straight_2c39bc87_1_4_1_, (4.58,0.975)))
swmmi_1_4_1_2.add(gdstk.Reference(straight_5ea3cd06_1_4_1_, (4.809,0.975)))
swmmi_1_4_1_2.add(gdstk.Reference(straight_6d488178_1_4_1_, (5.038,0.975)))
swmmi_1_4_1_2.add(gdstk.Reference(straight_f7d1fc65_1_4_1_, (5.267,0.975)))
swmmi_1_4_1_2.add(gdstk.Reference(straight_84e6302c_1_4_1_, (5.496,0.975)))
swmmi_1_4_1_2.add(gdstk.Reference(straight_9c4e17f1_1_4_1_, (5.725,0.975)))
swmmi_1_4_1_2.add(gdstk.Reference(straight_e533b238_1_4_1_, (5.954,0.975)))
swmmi_1_4_1_2.add(gdstk.Reference(straight_4a068241_1_4_1_, (6.183,0.975)))
swmmi_1_4_1_2.add(gdstk.Reference(straight_1d78e075_1_4_1_, (6.412,0.975)))
swmmi_1_4_1_2.add(gdstk.Reference(straight_5bfd06b2_1_4_1_, (6.641,0.975)))
swmmi_1_4_1_2.add(gdstk.Reference(straight_fb1c9b6e_1_4_1_, (6.87,0.975)))
swmmi_1_4_1_2.add(gdstk.Reference(straight_02d3a096_1_4_1_, (7.099,0.975)))
swmmi_1_4_1_2.add(gdstk.Reference(straight_2cb6a0ad_1_4_1_, (0,2.925)))
swmmi_1_4_1_2.add(gdstk.Reference(straight_58eb0652_1_4_1_, (0.229,2.925)))
swmmi_1_4_1_2.add(gdstk.Reference(straight_e8bbdc83_1_4_1_, (0.458,2.925)))
swmmi_1_4_1_2.add(gdstk.Reference(straight_69e23213_1_4_1_, (0.687,2.925)))
swmmi_1_4_1_2.add(gdstk.Reference(straight_ae37b892_1_4_1_, (0.916,2.925)))
swmmi_1_4_1_2.add(gdstk.Reference(straight_d18412fd_1_4_1_, (1.145,2.925)))
swmmi_1_4_1_2.add(gdstk.Reference(straight_c8e52362_1_4_1_, (1.374,2.925)))
swmmi_1_4_1_2.add(gdstk.Reference(straight_a7162a93_1_4_1_, (1.603,2.925)))
swmmi_1_4_1_2.add(gdstk.Reference(straight_168b5256_1_4_1_, (1.832,2.925)))
swmmi_1_4_1_2.add(gdstk.Reference(straight_dc194b24_1_4_1_, (2.061,2.925)))
swmmi_1_4_1_2.add(gdstk.Reference(straight_4a13c587_1_4_1_, (2.29,2.925)))
swmmi_1_4_1_2.add(gdstk.Reference(straight_17e9a650_1_4_1_, (2.519,2.925)))
swmmi_1_4_1_2.add(gdstk.Reference(straight_e69af71d_1_4_1_, (2.748,2.925)))
swmmi_1_4_1_2.add(gdstk.Reference(straight_2d9b7ab2_1_4_1_, (2.977,2.925)))
swmmi_1_4_1_2.add(gdstk.Reference(straight_5dc137b4_1_4_1_, (3.206,2.925)))
swmmi_1_4_1_2.add(gdstk.Reference(straight_ebca209d_1_4_1_, (3.435,2.925)))
swmmi_1_4_1_2.add(gdstk.Reference(straight_b793d578_1_4_1_, (3.664,2.925)))
swmmi_1_4_1_2.add(gdstk.Reference(straight_4b066b60_1_4_1_, (3.893,2.925)))
swmmi_1_4_1_2.add(gdstk.Reference(straight_8f11f37e_1_4_1_, (4.122,2.925)))
swmmi_1_4_1_2.add(gdstk.Reference(straight_09bb2c49_1_4_1_, (4.351,2.925)))
swmmi_1_4_1_2.add(gdstk.Reference(straight_2c39bc87_1_4_1_, (4.58,2.925)))
swmmi_1_4_1_2.add(gdstk.Reference(straight_5ea3cd06_1_4_1_, (4.809,2.925)))
swmmi_1_4_1_2.add(gdstk.Reference(straight_6d488178_1_4_1_, (5.038,2.925)))
swmmi_1_4_1_2.add(gdstk.Reference(straight_f7d1fc65_1_4_1_, (5.267,2.925)))
swmmi_1_4_1_2.add(gdstk.Reference(straight_84e6302c_1_4_1_, (5.496,2.925)))
swmmi_1_4_1_2.add(gdstk.Reference(straight_9c4e17f1_1_4_1_, (5.725,2.925)))
swmmi_1_4_1_2.add(gdstk.Reference(straight_e533b238_1_4_1_, (5.954,2.925)))
swmmi_1_4_1_2.add(gdstk.Reference(straight_4a068241_1_4_1_, (6.183,2.925)))
swmmi_1_4_1_2.add(gdstk.Reference(straight_1d78e075_1_4_1_, (6.412,2.925)))
swmmi_1_4_1_2.add(gdstk.Reference(straight_5bfd06b2_1_4_1_, (6.641,2.925)))
swmmi_1_4_1_2.add(gdstk.Reference(straight_fb1c9b6e_1_4_1_, (6.87,2.925)))
swmmi_1_4_1_2.add(gdstk.Reference(straight_02d3a096_1_4_1_, (7.099,2.925)))
swmmi_1_4_1_2.add(gdstk.Reference(straight_2cb6a0ad_1_4_1_, (0,0.975)))
swmmi_1_4_1_2.add(gdstk.Reference(straight_58eb0652_1_4_1_, (0.229,0.975)))
swmmi_1_4_1_2.add(gdstk.Reference(straight_e8bbdc83_1_4_1_, (0.458,0.975)))
swmmi_1_4_1_2.add(gdstk.Reference(straight_69e23213_1_4_1_, (0.687,0.975)))
swmmi_1_4_1_2.add(gdstk.Reference(straight_ae37b892_1_4_1_, (0.916,0.975)))
swmmi_1_4_1_2.add(gdstk.Reference(straight_d18412fd_1_4_1_, (1.145,0.975)))
swmmi_1_4_1_2.add(gdstk.Reference(straight_c8e52362_1_4_1_, (1.374,0.975)))
swmmi_1_4_1_2.add(gdstk.Reference(straight_a7162a93_1_4_1_, (1.603,0.975)))
swmmi_1_4_1_2.add(gdstk.Reference(straight_168b5256_1_4_1_, (1.832,0.975)))
swmmi_1_4_1_2.add(gdstk.Reference(straight_dc194b24_1_4_1_, (2.061,0.975)))
swmmi_1_4_1_2.add(gdstk.Reference(straight_4a13c587_1_4_1_, (2.29,0.975)))
swmmi_1_4_1_2.add(gdstk.Reference(straight_17e9a650_1_4_1_, (2.519,0.975)))
swmmi_1_4_1_2.add(gdstk.Reference(straight_e69af71d_1_4_1_, (2.748,0.975)))
swmmi_1_4_1_2.add(gdstk.Reference(straight_2d9b7ab2_1_4_1_, (2.977,0.975)))
swmmi_1_4_1_2.add(gdstk.Reference(straight_5dc137b4_1_4_1_, (3.206,0.975)))
swmmi_1_4_1_2.add(gdstk.Reference(straight_ebca209d_1_4_1_, (3.435,0.975)))
swmmi_1_4_1_2.add(gdstk.Reference(straight_b793d578_1_4_1_, (3.664,0.975)))
swmmi_1_4_1_2.add(gdstk.Reference(straight_4b066b60_1_4_1_, (3.893,0.975)))
swmmi_1_4_1_2.add(gdstk.Reference(straight_8f11f37e_1_4_1_, (4.122,0.975)))
swmmi_1_4_1_2.add(gdstk.Reference(straight_6d488178_1_4_1_, (5.038,-2.925)))
swmmi_1_4_1_2.add(gdstk.Reference(straight_f7d1fc65_1_4_1_, (5.267,-2.925)))
swmmi_1_4_1_2.add(gdstk.Reference(straight_84e6302c_1_4_1_, (5.496,-2.925)))
swmmi_1_4_1_2.add(gdstk.Reference(straight_9c4e17f1_1_4_1_, (5.725,-2.925)))
swmmi_1_4_1_2.add(gdstk.Reference(straight_e533b238_1_4_1_, (5.954,-2.925)))
swmmi_1_4_1_2.add(gdstk.Reference(straight_4a068241_1_4_1_, (6.183,-2.925)))
swmmi_1_4_1_2.add(gdstk.Reference(straight_1d78e075_1_4_1_, (6.412,-2.925)))
swmmi_1_4_1_2.add(gdstk.Reference(straight_5bfd06b2_1_4_1_, (6.641,-2.925)))
swmmi_1_4_1_2.add(gdstk.Reference(straight_fb1c9b6e_1_4_1_, (6.87,-2.925)))
swmmi_1_4_1_2.add(gdstk.Reference(straight_02d3a096_1_4_1_, (7.099,-2.925)))
swmmi_1_4_1_2.add(gdstk.Reference(straight_2cb6a0ad_1_4_1_, (0,-0.975)))
swmmi_1_4_1_2.add(gdstk.Reference(straight_58eb0652_1_4_1_, (0.229,-0.975)))
swmmi_1_4_1_2.add(gdstk.Reference(straight_e8bbdc83_1_4_1_, (0.458,-0.975)))
swmmi_1_4_1_2.add(gdstk.Reference(straight_69e23213_1_4_1_, (0.687,-0.975)))
swmmi_1_4_1_2.add(gdstk.Reference(straight_ae37b892_1_4_1_, (0.916,-0.975)))
swmmi_1_4_1_2.add(gdstk.Reference(straight_d18412fd_1_4_1_, (1.145,-0.975)))
swmmi_1_4_1_2.add(gdstk.Reference(straight_c8e52362_1_4_1_, (1.374,-0.975)))
swmmi_1_4_1_2.add(gdstk.Reference(straight_a7162a93_1_4_1_, (1.603,-0.975)))
swmmi_1_4_1_2.add(gdstk.Reference(straight_168b5256_1_4_1_, (1.832,-0.975)))
swmmi_1_4_1_2.add(gdstk.Reference(straight_dc194b24_1_4_1_, (2.061,-0.975)))
swmmi_1_4_1_2.add(gdstk.Reference(straight_4a13c587_1_4_1_, (2.29,-0.975)))
swmmi_1_4_1_2.add(gdstk.Reference(straight_17e9a650_1_4_1_, (2.519,-0.975)))
swmmi_1_4_1_2.add(gdstk.Reference(straight_e69af71d_1_4_1_, (2.748,-0.975)))
swmmi_1_4_1_2.add(gdstk.Reference(straight_2d9b7ab2_1_4_1_, (2.977,-0.975)))
swmmi_1_4_1_2.add(gdstk.Reference(straight_5dc137b4_1_4_1_, (3.206,-0.975)))
swmmi_1_4_1_2.add(gdstk.Reference(straight_ebca209d_1_4_1_, (3.435,-0.975)))
swmmi_1_4_1_2.add(gdstk.Reference(straight_b793d578_1_4_1_, (3.664,-0.975)))
swmmi_1_4_1_2.add(gdstk.Reference(straight_4b066b60_1_4_1_, (3.893,-0.975)))
swmmi_1_4_1_2.add(gdstk.Reference(straight_8f11f37e_1_4_1_, (4.122,-0.975)))
swmmi_1_4_1_2.add(gdstk.Reference(straight_09bb2c49_1_4_1_, (4.351,-0.975)))
swmmi_1_4_1_2.add(gdstk.Reference(straight_2c39bc87_1_4_1_, (4.58,-0.975)))
swmmi_1_4_1_2.add(gdstk.Reference(straight_5ea3cd06_1_4_1_, (4.809,-0.975)))
swmmi_1_4_1_2.add(gdstk.Reference(straight_6d488178_1_4_1_, (5.038,-0.975)))
swmmi_1_4_1_2.add(gdstk.Reference(straight_f7d1fc65_1_4_1_, (5.267,-0.975)))
swmmi_1_4_1_2.add(gdstk.Reference(straight_84e6302c_1_4_1_, (5.496,-0.975)))
swmmi_1_4_1_2.add(gdstk.Reference(straight_9c4e17f1_1_4_1_, (5.725,-0.975)))
swmmi_1_4_1_2.add(gdstk.Reference(straight_e533b238_1_4_1_, (5.954,-0.975)))
swmmi_1_4_1_2.add(gdstk.Reference(straight_4a068241_1_4_1_, (6.183,-0.975)))
swmmi_1_4_1_2.add(gdstk.Reference(straight_1d78e075_1_4_1_, (6.412,-0.975)))
swmmi_1_4_1_2.add(gdstk.Reference(straight_5bfd06b2_1_4_1_, (6.641,-0.975)))
swmmi_1_4_1_2.add(gdstk.Reference(straight_fb1c9b6e_1_4_1_, (6.87,-0.975)))
swmmi_1_4_1_2.add(gdstk.Reference(straight_02d3a096_1_4_1_, (7.099,-0.975)))
swmmi_1_4_1_2.add(gdstk.Reference(straight_58eb0652_1_4_1_, (0.229,-2.925)))
swmmi_1_4_1_2.add(gdstk.Reference(straight_e8bbdc83_1_4_1_, (0.458,-2.925)))
swmmi_1_4_1_2.add(gdstk.Reference(straight_69e23213_1_4_1_, (0.687,-2.925)))
swmmi_1_4_1_2.add(gdstk.Reference(straight_ae37b892_1_4_1_, (0.916,-2.925)))
swmmi_1_4_1_2.add(gdstk.Reference(straight_d18412fd_1_4_1_, (1.145,-2.925)))
swmmi_1_4_1_2.add(gdstk.Reference(straight_c8e52362_1_4_1_, (1.374,-2.925)))
swmmi_1_4_1_2.add(gdstk.Reference(straight_a7162a93_1_4_1_, (1.603,-2.925)))
swmmi_1_4_1_2.add(gdstk.Reference(straight_168b5256_1_4_1_, (1.832,-2.925)))
swmmi_1_4_1_2.add(gdstk.Reference(straight_dc194b24_1_4_1_, (2.061,-2.925)))
swmmi_1_4_1_2.add(gdstk.Reference(straight_4a13c587_1_4_1_, (2.29,-2.925)))
swmmi_1_4_1_2.add(gdstk.Reference(straight_17e9a650_1_4_1_, (2.519,-2.925)))
swmmi_1_4_1_2.add(gdstk.Reference(straight_e69af71d_1_4_1_, (2.748,-2.925)))
swmmi_1_4_1_2.add(gdstk.Reference(straight_2d9b7ab2_1_4_1_, (2.977,-2.925)))
swmmi_1_4_1_2.add(gdstk.Reference(straight_5dc137b4_1_4_1_, (3.206,-2.925)))
swmmi_1_4_1_2.add(gdstk.Reference(straight_ebca209d_1_4_1_, (3.435,-2.925)))
swmmi_1_4_1_2.add(gdstk.Reference(straight_b793d578_1_4_1_, (3.664,-2.925)))
swmmi_1_4_1_2.add(gdstk.Reference(straight_4b066b60_1_4_1_, (3.893,-2.925)))
swmmi_1_4_1_2.add(gdstk.Reference(straight_8f11f37e_1_4_1_, (4.122,-2.925)))
swmmi_1_4_1_2.add(gdstk.Reference(straight_09bb2c49_1_4_1_, (4.351,-2.925)))
swmmi_1_4_1_2.add(gdstk.Reference(straight_2c39bc87_1_4_1_, (4.58,-2.925)))
swmmi_1_4_1_2.add(gdstk.Reference(straight_5ea3cd06_1_4_1_, (4.809,-2.925)))
swmmi_1_4_1_2.add(gdstk.Reference(straight_2cb6a0ad_1_4_1_, (0,-2.925)))
swmmi_1_4_1_2.add(gdstk.Label('opt1', (0,2.925), layer=1, texttype=10))
swmmi_1_4_1_2.add(gdstk.Label('opt2', (0,0.975), layer=1, texttype=10))
swmmi_1_4_1_2.add(gdstk.Label('opt3', (0,-0.975), layer=1, texttype=10))
swmmi_1_4_1_2.add(gdstk.Label('opt4', (0,-2.925), layer=1, texttype=10))
swmmi_1_4_1_2.add(gdstk.Label('opt5', (52.899,2.925), layer=1, texttype=10))
swmmi_1_4_1_2.add(gdstk.Label('opt6', (52.899,0.975), layer=1, texttype=10))
swmmi_1_4_1_2.add(gdstk.Label('opt7', (52.899,-0.975), layer=1, texttype=10))
swmmi_1_4_1_2.add(gdstk.Label('opt8', (52.899,-2.925), layer=1, texttype=10))

lib.write_gds('swmmi_1_4_1_2.gds')
